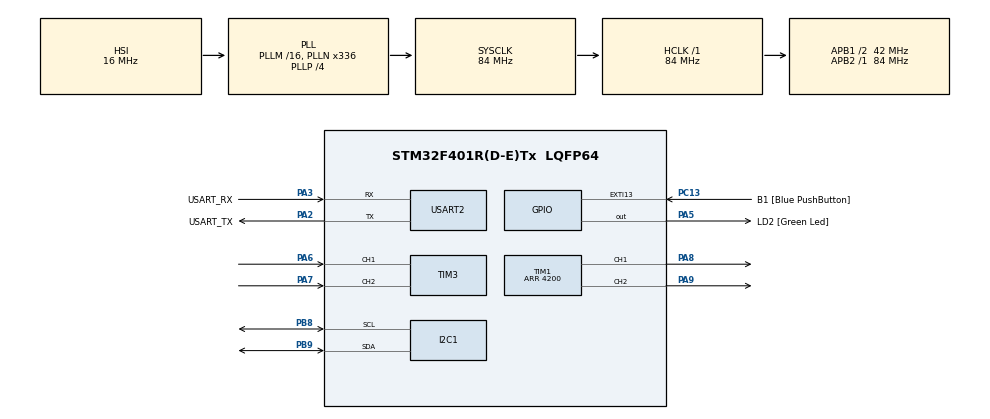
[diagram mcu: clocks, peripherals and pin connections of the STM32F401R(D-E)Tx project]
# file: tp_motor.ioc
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Mcu.Family=STM32F4
Mcu.Name=STM32F401R(D-E)Tx
Mcu.Package=LQFP64
NVIC.PriorityGroup=NVIC_PRIORITYGROUP_0
PA13.GPIO_Label=TMS
PA13.Mode=Serial_Wire
PA13.Signal=SYS_JTMS-SWDIO
PA14.GPIO_Label=TCK
PA14.Mode=Serial_Wire
PA14.Signal=SYS_JTCK-SWCLK
PA2.GPIO_Label=USART_TX
PA2.GPIO_Mode=GPIO_MODE_AF_PP
PA2.GPIO_PuPd=GPIO_NOPULL
PA2.GPIO_Speed=GPIO_SPEED_FREQ_LOW
PA2.Mode=Asynchronous
PA2.Signal=USART2_TX
PA3.GPIO_Label=USART_RX
PA3.GPIO_Mode=GPIO_MODE_AF_PP
PA3.GPIO_PuPd=GPIO_NOPULL
PA3.GPIO_Speed=GPIO_SPEED_FREQ_LOW
PA3.Mode=Asynchronous
PA3.Signal=USART2_RX
PA5.GPIO_Label=LD2 [Green Led]
PA5.GPIO_Mode=GPIO_MODE_OUTPUT_PP
PA5.GPIO_PuPd=GPIO_NOPULL
PA5.GPIO_Speed=GPIO_SPEED_FREQ_LOW
PA5.Signal=GPIO_Output
PA6.Signal=S_TIM3_CH1
PA7.Signal=S_TIM3_CH2
PA8.Signal=S_TIM1_CH1
PA9.Signal=S_TIM1_CH2
PB3.GPIO_Label=SWO
PB3.Signal=SYS_JTDO-SWO
PB8.Mode=I2C
PB8.Signal=I2C1_SCL
PB9.Mode=I2C
PB9.Signal=I2C1_SDA
PC13-ANTI_TAMP.GPIO_Label=B1 [Blue PushButton]
PC13-ANTI_TAMP.GPIO_ModeDefaultEXTI=GPIO_MODE_IT_FALLING
PC13-ANTI_TAMP.GPIO_PuPd=GPIO_NOPULL
PC13-ANTI_TAMP.Signal=GPXTI13
PC14-OSC32_IN.Mode=LSE-External-Oscillator
PC14-OSC32_IN.Signal=RCC_OSC32_IN
PC15-OSC32_OUT.Mode=LSE-External-Oscillator
PC15-OSC32_OUT.Signal=RCC_OSC32_OUT
PH0\ -\ OSC_IN.Mode=HSE-External-Clock-Source
PH0\ -\ OSC_IN.Signal=RCC_OSC_IN
PH1\ -\ OSC_OUT.Mode=HSE-External-Clock-Source
PH1\ -\ OSC_OUT.Signal=RCC_OSC_OUT
ProjectManager.HeapSize=0x200
ProjectManager.StackSize=0x400
ProjectManager.TargetToolchain=STM32CubeIDE
RCC.48MHZClocksFreq_Value=48000000
RCC.AHBFreq_Value=84000000
RCC.APB1CLKDivider=RCC_HCLK_DIV2
RCC.APB1Freq_Value=42000000
RCC.APB1TimFreq_Value=84000000
RCC.APB2Freq_Value=84000000
RCC.APB2TimFreq_Value=84000000
RCC.CortexFreq_Value=84000000
RCC.HCLKFreq_Value=84000000
RCC.HSE_VALUE=8000000
RCC.HSI_VALUE=16000000
RCC.PLLN=336
RCC.PLLP=RCC_PLLP_DIV4
RCC.PLLQ=7
RCC.SYSCLKFreq_VALUE=84000000
RCC.SYSCLKSource=RCC_SYSCLKSOURCE_PLLCLK
RCC.VCOOutputFreq_Value=336000000
SH.S_TIM1_CH1.0=TIM1_CH1,PWM Generation1 CH1
SH.S_TIM1_CH2.0=TIM1_CH2,PWM Generation2 CH2
SH.S_TIM3_CH1.0=TIM3_CH1,Encoder_Interface
SH.S_TIM3_CH2.0=TIM3_CH2,Encoder_Interface
TIM1.AutoReloadPreload=TIM_AUTORELOAD_PRELOAD_ENABLE
TIM1.Channel-PWM\ Generation1\ CH1=TIM_CHANNEL_1
TIM1.Channel-PWM\ Generation2\ CH2=TIM_CHANNEL_2
TIM1.Period=4200
TIM3.AutoReloadPreload=TIM_AUTORELOAD_PRELOAD_ENABLE
TIM3.EncoderMode=TIM_ENCODERMODE_TI1
TIM3.IC1Filter=10
USART2.VirtualMode=VM_ASYNC
VP_TIM1_VS_ClockSourceINT.Mode=Internal
board=NUCLEO-F401RE

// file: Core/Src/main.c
/* USER CODE BEGIN Header */
/**
  ******************************************************************************
  * @file           : main.c
  * @brief          : Main program body
  ******************************************************************************
  * @attention
  *
  * Copyright (c) 2024 STMicroelectronics.
  * All rights reserved.
  *
  * This software is licensed under terms that can be found in the LICENSE file
  * in the root directory of this software component.
  * If no LICENSE file comes with this software, it is provided AS-IS.
  *
  ******************************************************************************
  */
/* USER CODE END Header */
#include "main.h"
#include "i2c.h"
#include "tim.h"
#include "usart.h"
#include "gpio.h"

/* USER CODE BEGIN Includes */
#include <stdio.h>
#include <inttypes.h>
#include <math.h>
#include <motor.h>
#include <encoder.h>
#include <pid.h>
#include <DriveSyst.h>
#include <mpu6050.h>

/* USER CODE END Includes */

void SystemClock_Config(void);
/* USER CODE BEGIN PFP */
extern int mode;

extern PID_t pid;
extern Encoder_Feedback_t encoder;
extern Xyz acc;
/* USER CODE END PFP */

/* USER CODE BEGIN 0 */
void HAL_SYSTICK_Callback(void){
	static uint16_t tempoNms = 500;
	static uint16_t tempoEncNms = 40;
	if(tempoNms > 0 )
		tempoNms--;
	else{
		tempoNms = 500;
		HAL_GPIO_TogglePin(LD2_GPIO_Port, LD2_Pin); //appele toutes les 500ms
	}
	if(tempoEncNms > 0 )
		tempoEncNms--;
	else{
		tempoEncNms = 40;

		DriveSyst(); // appele toutes les 40ms
	}
}

int __io_putchar(int ch){
	HAL_UART_Transmit(&huart2, (uint8_t *)&ch, 1, 0xFFFF);
	return ch;
}

/* USER CODE END 0 */

int main(void)
{

  /* MCU Configuration--------------------------------------------------------*/

  /* Reset of all peripherals, Initializes the Flash interface and the Systick. */
  HAL_Init();

  /* Configure the system clock */
  SystemClock_Config();

  /* Initialize all configured peripherals */
  MX_GPIO_Init();
  MX_USART2_UART_Init();
  MX_I2C1_Init();
  MX_TIM1_Init();
  MX_TIM3_Init();
  /* USER CODE BEGIN 2 */
  Motor_Init();
  Encoder_Init();
  MPU6050_Init();

  mode = 2;

  switch(mode)
  {
      case 0: //vitesse
    	  PID_Init(&pid, 0.2f, 0.03f, 0.03f, 50.0f, 0.01f);
    	  pid.input.order = 0.0f;
    	  pid.input.feedback = 0.0f;
    	  break;

      case 1: //position
          PID_Init(&pid, 0.64f, 0.0f, 0.01f, 50.0f, 0.01f);
          pid.input.order = 0.0f;
          pid.input.feedback = 0.0f;
          break;

      case 2: //acceleration
          PID_Init(&pid, 0.64f, 0.0f, 0.01f, 50.0f, 0.01f);
          pid.input.order = 0.0f;
          pid.input.feedback = 0.0f;
          break;
  }

  /* USER CODE END 2 */

  /* Infinite loop */
  /* USER CODE BEGIN WHILE */
  while (1)
  {

	  printf("\r");
	  printf("angle absolu : %f", encoder.angle_abs);
	  printf("   ");
	  printf("angle relatif : %f", encoder.angle_rel);
	  printf("   ");
	  printf("vitesse : %f", encoder.d_angle);

	  //gestion du bouton
	  if(HAL_GPIO_ReadPin (GPIOC, GPIO_PIN_13) == 0){ //detecte un appui sur le bouton bleu
		  printf("\r button pressed");
		  if(pid.input.order < (2*M_PI)){
			  pid.input.order = pid.input.order + (M_PI/2);
			  HAL_Delay(500); //delai pour eviter de prendre en compte 2 appuis sur le bouton
		  }else{
			  pid.input.order = (-2*M_PI); //retour a -2pi si on depasse 2pi
			  HAL_Delay(500);
		  }
	  }

    /* USER CODE END WHILE */

  }
}

void SystemClock_Config(void)
{
  RCC_OscInitTypeDef RCC_OscInitStruct = {0};
  RCC_ClkInitTypeDef RCC_ClkInitStruct = {0};

  /** Configure the main internal regulator output voltage
  */
  __HAL_RCC_PWR_CLK_ENABLE();
  __HAL_PWR_VOLTAGESCALING_CONFIG(PWR_REGULATOR_VOLTAGE_SCALE2);

  /** Initializes the RCC Oscillators according to the specified parameters
  * in the RCC_OscInitTypeDef structure.
  */
  RCC_OscInitStruct.OscillatorType = RCC_OSCILLATORTYPE_HSI;
  RCC_OscInitStruct.HSIState = RCC_HSI_ON;
  RCC_OscInitStruct.HSICalibrationValue = RCC_HSICALIBRATION_DEFAULT;
  RCC_OscInitStruct.PLL.PLLState = RCC_PLL_ON;
  RCC_OscInitStruct.PLL.PLLSource = RCC_PLLSOURCE_HSI;
  RCC_OscInitStruct.PLL.PLLM = 16;
  RCC_OscInitStruct.PLL.PLLN = 336;
  RCC_OscInitStruct.PLL.PLLP = RCC_PLLP_DIV4;
  RCC_OscInitStruct.PLL.PLLQ = 7;
  if (HAL_RCC_OscConfig(&RCC_OscInitStruct) != HAL_OK)
  {
    Error_Handler();
  }

  /** Initializes the CPU, AHB and APB buses clocks
  */
  RCC_ClkInitStruct.ClockType = RCC_CLOCKTYPE_HCLK|RCC_CLOCKTYPE_SYSCLK
                              |RCC_CLOCKTYPE_PCLK1|RCC_CLOCKTYPE_PCLK2;
  RCC_ClkInitStruct.SYSCLKSource = RCC_SYSCLKSOURCE_PLLCLK;
  RCC_ClkInitStruct.AHBCLKDivider = RCC_SYSCLK_DIV1;
  RCC_ClkInitStruct.APB1CLKDivider = RCC_HCLK_DIV2;
  RCC_ClkInitStruct.APB2CLKDivider = RCC_HCLK_DIV1;

  if (HAL_RCC_ClockConfig(&RCC_ClkInitStruct, FLASH_LATENCY_2) != HAL_OK)
  {
    Error_Handler();
  }
}

void Error_Handler(void)
{
  __disable_irq();
  while (1)
  {
  }
}
